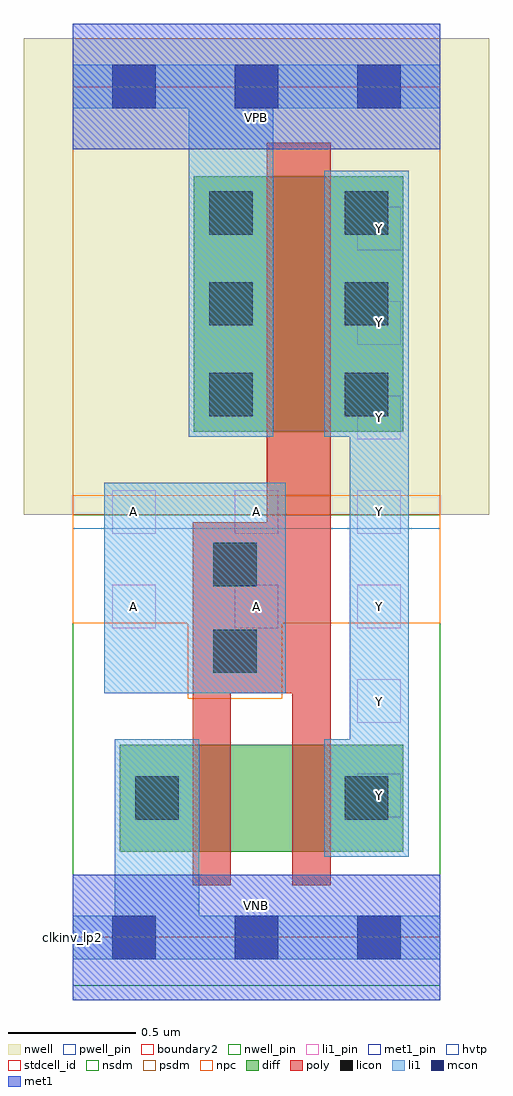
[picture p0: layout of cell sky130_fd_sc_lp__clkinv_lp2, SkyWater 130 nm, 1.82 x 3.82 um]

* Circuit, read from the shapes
.subckt sky130_fd_sc_lp__clkinv_lp2 A VGND VNB VPB VPWR Y
XM1 n1 A VGND VNB sky130_fd_pr__nfet_01v8 w=0.42 l=0.15
XM2 Y A n1 VNB sky130_fd_pr__nfet_01v8 w=0.42 l=0.15
XM3 Y A VPWR VPB sky130_fd_pr__pfet_01v8_hvt w=1 l=0.25
.ends

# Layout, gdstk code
import gdstk
lib = gdstk.Library(unit=1e-6, precision=1e-09)
def R(c, l, rs):  # rectangles x0, y0, x1, y1
    for r in rs: c.add(gdstk.rectangle(r[:2], r[2:], *l))
def A(c, l, x, y, w, h, nx, ny, dx, dy):  # array of equal rectangles
    R(c, l, [(x+i*dx, y+j*dy, x+i*dx+w, y+j*dy+h) for i in range(nx) for j in range(ny)])
def P(c, l, *ps):  # polygons
    for p in ps: c.add(gdstk.Polygon(p, *l))
nwell_pin = (64, 16)
nwell = (64, 20)
diff = (65, 20)
poly = (66, 20)
licon = (66, 44)
li1_pin = (67, 16)
li1 = (67, 20)
mcon = (67, 44)
met1_pin = (68, 16)
met1 = (68, 20)
hvtp = (78, 44)
stdcell_id = (81, 4)
nsdm = (93, 44)
psdm = (94, 20)
npc = (95, 20)
pwell_pin = (122, 16)
boundary2 = (236, 0)

sky130_fd_sc_lp__clkinv_ = lib.new_cell('sky130_fd_sc_lp__clkinv_lp2')
R(sky130_fd_sc_lp__clkinv_, nwell_pin, [(0,3.085,1.44,3.33)])
R(sky130_fd_sc_lp__clkinv_, nwell, [(-0.19,1.655,1.63,3.52)])
R(sky130_fd_sc_lp__clkinv_, diff, [(0.185,0.335,1.295,0.755), (0.475,1.98,1.295,2.98)])
P(sky130_fd_sc_lp__clkinv_, poly, [(1.01,3.11),(0.76,3.11),(0.76,1.625),(0.47,1.625),(0.47,0.205),(0.62,0.205),(0.62,0.955),(0.86,0.955),(0.86,0.205),(1.01,0.205)])
A(sky130_fd_sc_lp__clkinv_, licon, 0.535, 2.04, 0.17, 0.17, 1, 3, 0, 0.355)
A(sky130_fd_sc_lp__clkinv_, licon, 1.065, 2.04, 0.17, 0.17, 1, 3, 0, 0.355)
R(sky130_fd_sc_lp__clkinv_, licon, [(0.245,0.46,0.415,0.63), (1.065,0.46,1.235,0.63), (0.55,1.035,0.72,1.205), (0.55,1.375,0.72,1.545)])
A(sky130_fd_sc_lp__clkinv_, li1_pin, 0.155, 1.21, 0.17, 0.17, 3, 2, 0.48, 0.37)
A(sky130_fd_sc_lp__clkinv_, li1_pin, 1.115, 1.95, 0.17, 0.17, 1, 3, 0, 0.37)
R(sky130_fd_sc_lp__clkinv_, li1_pin, [(1.115,0.47,1.285,0.64), (1.115,0.84,1.285,1.01)])
R(sky130_fd_sc_lp__clkinv_, li1, [(0.125,0.955,0.835,1.78)])
P(sky130_fd_sc_lp__clkinv_, li1, [(0.455,1.96),(0.455,3.245),(0,3.245),(0,3.415),(1.44,3.415),(1.44,3.245),(0.785,3.245),(0.785,1.96)],
  [(0.165,0.085),(0.165,0.775),(0.495,0.775),(0.495,0.085),(1.44,0.085),(1.44,-0.085),(0,-0.085),(0,0.085)],
  [(0.985,1.96),(0.985,3),(1.315,3),(1.315,0.315),(0.985,0.315),(0.985,0.775),(1.085,0.775),(1.085,1.96)])
A(sky130_fd_sc_lp__clkinv_, mcon, 0.155, -0.085, 0.17, 0.17, 3, 2, 0.48, 3.33)
R(sky130_fd_sc_lp__clkinv_, met1_pin, [(0,0,1.44,0.245), (0,3.085,1.44,3.33)])
R(sky130_fd_sc_lp__clkinv_, met1, [(0,-0.245,1.44,0.245), (0,3.085,1.44,3.575)])
R(sky130_fd_sc_lp__clkinv_, hvtp, [(0,1.6,1.44,3.33)])
R(sky130_fd_sc_lp__clkinv_, stdcell_id, [(0,0,1.44,3.33)])
R(sky130_fd_sc_lp__clkinv_, nsdm, [(0,-0.19,1.44,1.655)])
R(sky130_fd_sc_lp__clkinv_, psdm, [(0,1.655,1.44,3.52)])
P(sky130_fd_sc_lp__clkinv_, npc, [(1.44,1.73),(0,1.73),(0,1.23),(0.45,1.23),(0.45,0.935),(0.82,0.935),(0.82,1.23),(1.44,1.23)])
R(sky130_fd_sc_lp__clkinv_, pwell_pin, [(0,0,1.44,0.245)])
R(sky130_fd_sc_lp__clkinv_, boundary2, [(0,0,1.44,3.33)])
sky130_fd_sc_lp__clkinv_.add(gdstk.Label('VNB', (0.72,0.123), layer=64, texttype=59))
sky130_fd_sc_lp__clkinv_.add(gdstk.Label('VPB', (0.72,3.208), layer=64, texttype=5))
sky130_fd_sc_lp__clkinv_.add(gdstk.Label('clkinv_lp2', (0,0), layer=83, texttype=44))
sky130_fd_sc_lp__clkinv_.add(gdstk.Label('VPWR', (0.72,3.208), layer=68, texttype=5))
sky130_fd_sc_lp__clkinv_.add(gdstk.Label('VGND', (0.72,0.123), layer=68, texttype=5))
sky130_fd_sc_lp__clkinv_.add(gdstk.Label('A', (0.24,1.295), layer=67, texttype=5))
sky130_fd_sc_lp__clkinv_.add(gdstk.Label('A', (0.24,1.665), layer=67, texttype=5))
sky130_fd_sc_lp__clkinv_.add(gdstk.Label('A', (0.72,1.295), layer=67, texttype=5))
sky130_fd_sc_lp__clkinv_.add(gdstk.Label('A', (0.72,1.665), layer=67, texttype=5))
sky130_fd_sc_lp__clkinv_.add(gdstk.Label('Y', (1.2,0.555), layer=67, texttype=5))
sky130_fd_sc_lp__clkinv_.add(gdstk.Label('Y', (1.2,0.925), layer=67, texttype=5))
sky130_fd_sc_lp__clkinv_.add(gdstk.Label('Y', (1.2,1.295), layer=67, texttype=5))
sky130_fd_sc_lp__clkinv_.add(gdstk.Label('Y', (1.2,1.665), layer=67, texttype=5))
sky130_fd_sc_lp__clkinv_.add(gdstk.Label('Y', (1.2,2.035), layer=67, texttype=5))
sky130_fd_sc_lp__clkinv_.add(gdstk.Label('Y', (1.2,2.405), layer=67, texttype=5))
sky130_fd_sc_lp__clkinv_.add(gdstk.Label('Y', (1.2,2.775), layer=67, texttype=5))

lib.write_gds('sky130_fd_sc_lp__clkinv_lp2.gds')
